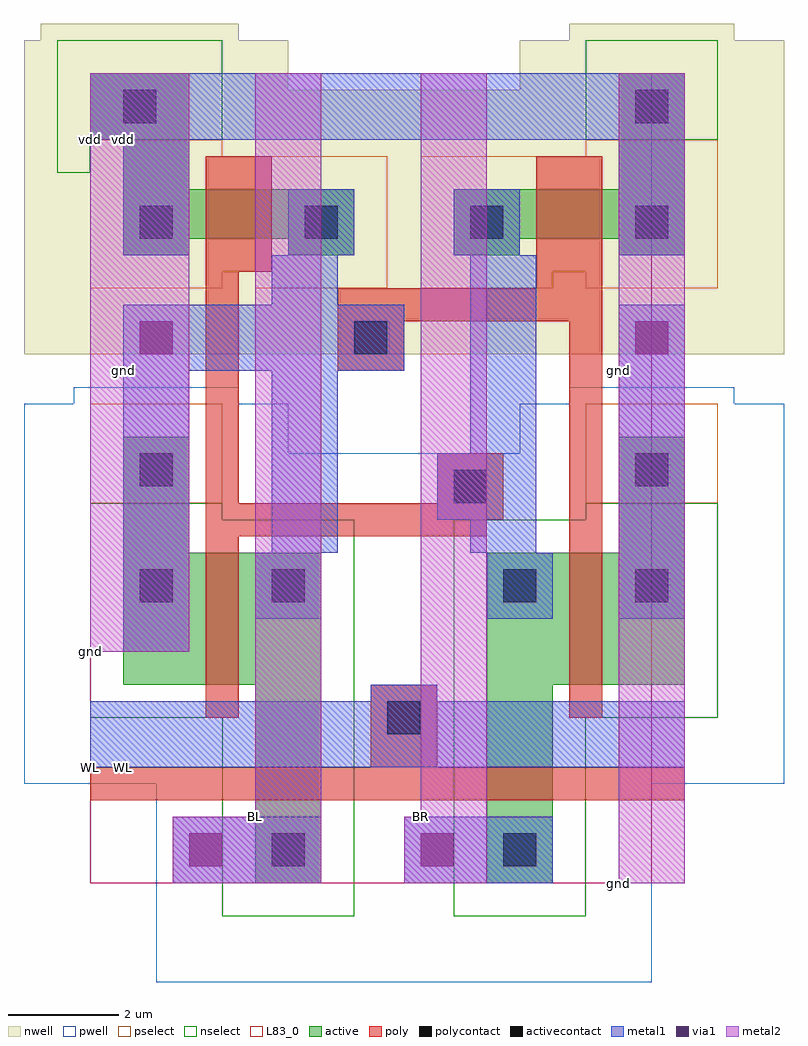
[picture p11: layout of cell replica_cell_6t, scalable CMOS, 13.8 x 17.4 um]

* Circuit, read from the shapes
.subckt replica_cell_6t BL BR WL gnd vdd
M1 gnd n1 gnd gnd nfet w=2.4u l=0.6u
M2 gnd WL BL gnd nfet w=1.2u l=0.6u
M3 n1 WL BR gnd nfet w=1.2u l=0.6u
M4 gnd gnd n1 gnd nfet w=2.4u l=0.6u
M5 gnd n1 vdd vdd pfet w=0.9u l=1.2u
M6 vdd gnd n1 vdd pfet w=0.9u l=1.2u
.ends

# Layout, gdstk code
import gdstk
lib = gdstk.Library(unit=1e-6, precision=1e-09)
def R(c, l, rs):  # rectangles x0, y0, x1, y1
    for r in rs: c.add(gdstk.rectangle(r[:2], r[2:], *l))
def A(c, l, x, y, w, h, nx, ny, dx, dy):  # array of equal rectangles
    R(c, l, [(x+i*dx, y+j*dy, x+i*dx+w, y+j*dy+h) for i in range(nx) for j in range(ny)])
pwell = (41, 0)
nwell = (42, 0)
active = (43, 0)
pselect = (44, 0)
nselect = (45, 0)
poly = (46, 0)
polycontact = (47, 0)
activecontact = (48, 0)
metal1 = (49, 0)
via1 = (50, 0)
metal2 = (51, 0)
L83_0 = (83, 0)

replica_cell_6t = lib.new_cell('replica_cell_6t')
R(replica_cell_6t, pwell, [(1.2,-1.8,10.2,1.8), (-1.2,1.8,12.6,7.8), (-1.2,7.8,3.6,8.7), (7.8,7.8,12.6,8.7), (-0.3,8.7,2.7,9), (8.7,8.7,11.7,9)])
R(replica_cell_6t, nwell, [(-1.2,9.6,12.6,14.4), (-1.2,14.4,3.6,15.3), (7.8,14.4,12.6,15.3), (-0.9,15.3,2.7,15.6), (8.7,15.3,11.7,15.6)])
A(replica_cell_6t, active, 0.6, 11.4, 1.2, 0.3, 4, 1, 3, 0)
R(replica_cell_6t, active, [(3,0,4.2,3.6), (7.2,0,8.4,3.6), (0.6,3.6,4.2,6), (7.2,3.6,10.8,6), (0.6,6,1.8,8.1), (9.6,6,10.8,8.1), (0.6,11.7,4.8,12.6), (6.6,11.7,10.8,12.6), (0.6,12.6,1.8,13.5), (9.6,12.6,10.8,14.7), (0,13.5,1.8,14.7)])
A(replica_cell_6t, pselect, 0, 10.8, 2.4, 0.3, 4, 1, 3, 0)
R(replica_cell_6t, pselect, [(0,6.9,2.4,8.7), (9,6.9,11.4,8.7), (0,11.1,5.4,13.2), (6,11.1,11.4,13.2), (0,13.2,2.4,13.5), (9,13.2,11.4,13.5)])
R(replica_cell_6t, nselect, [(2.4,-0.6,4.8,3), (6.6,-0.6,9,3), (0,3,4.8,6.6), (6.6,3,11.4,6.6), (0,6.6,2.4,6.9), (9,6.6,11.4,6.9), (-0.6,12.9,0,13.5), (-0.6,13.5,2.4,15.3), (9,13.5,11.4,15.3)])
R(replica_cell_6t, poly, [(0,1.5,10.8,2.1), (5.1,2.1,6.3,3.6), (2.1,3,2.7,6.3), (8.7,3,9.3,10.2), (2.1,6.3,7.2,6.6), (2.1,6.6,7.5,6.9), (2.1,6.9,2.7,11.1), (6.3,6.9,7.5,7.8), (4.5,9.3,5.7,10.2), (4.5,10.2,9.3,10.8), (8.1,10.8,9.3,13.2), (2.1,11.1,3.3,13.2)])
R(replica_cell_6t, polycontact, [(5.4,2.7,6,3.3), (6.6,6.9,7.2,7.5), (4.8,9.6,5.4,10.2)])
A(replica_cell_6t, activecontact, 0.9, 11.7, 0.6, 0.6, 4, 1, 3, 0)
R(replica_cell_6t, activecontact, [(3.3,0.3,3.9,0.9), (7.5,0.3,8.1,0.9), (0.9,5.1,1.5,5.7), (3.3,5.1,3.9,5.7), (7.5,5.1,8.1,5.7), (9.9,5.1,10.5,5.7), (0.9,7.2,1.5,7.8), (9.9,7.2,10.5,7.8), (0.6,13.8,1.2,14.4), (9.9,13.8,10.5,14.4)])
R(replica_cell_6t, metal1, [(1.5,0,4.2,1.2), (5.7,0,8.4,1.2), (0,2.1,10.8,3.3), (0,2.1,10.8,3.3), (5.1,3.3,6.3,3.6), (0.6,4.2,1.8,9.3), (3,4.8,4.2,6), (7.2,4.8,8.4,6), (9.6,4.8,10.8,10.5), (3.3,6,4.5,9.3), (6.9,6,8.1,6.6), (6.3,6.6,8.1,7.8), (6.9,7.8,8.1,11.4), (0.6,9.3,5.7,10.5), (3.3,10.5,4.5,11.4), (0.6,11.4,1.8,13.5), (3.6,11.4,4.8,12.6), (6.6,11.4,7.8,12.6), (9.6,11.4,10.8,13.5), (0,13.5,10.8,14.7), (0,13.5,10.8,14.7)])
R(replica_cell_6t, via1, [(1.8,0.3,2.4,0.9), (6,0.3,6.6,0.9), (0.9,9.6,1.5,10.2), (9.9,9.6,10.5,10.2)])
R(replica_cell_6t, metal2, [(1.5,0,4.2,1.2), (5.7,0,7.2,1.2), (9.6,0,10.8,14.7), (9.6,0,10.8,14.7), (3,1.2,4.2,14.7), (3,1.2,4.2,14.7), (6,1.2,7.2,14.7), (6,1.2,7.2,14.7), (0,4.2,1.8,14.7), (0,4.2,1.8,14.7)])
R(replica_cell_6t, L83_0, [(0,0,10.2,14.7)])
replica_cell_6t.add(gdstk.Label('gnd', (0.6,9.3), layer=51, texttype=0))
replica_cell_6t.add(gdstk.Label('gnd', (9.6,9.3), layer=51, texttype=0))
replica_cell_6t.add(gdstk.Label('BL', (3,1.2), layer=51, texttype=0))
replica_cell_6t.add(gdstk.Label('BR', (6,1.2), layer=51, texttype=0))
replica_cell_6t.add(gdstk.Label('vdd', (0.6,13.5), layer=49, texttype=0))
replica_cell_6t.add(gdstk.Label('WL', (0.6,2.1), layer=49, texttype=0))
replica_cell_6t.add(gdstk.Label('BL', (3,1.2), layer=51, texttype=0))
replica_cell_6t.add(gdstk.Label('WL', (0,2.1), layer=49, texttype=0))
replica_cell_6t.add(gdstk.Label('gnd', (0,4.2), layer=51, texttype=0))
replica_cell_6t.add(gdstk.Label('gnd', (9.6,0), layer=51, texttype=0))
replica_cell_6t.add(gdstk.Label('vdd', (0,13.5), layer=49, texttype=0))
replica_cell_6t.add(gdstk.Label('BR', (6,1.2), layer=51, texttype=0))

lib.write_gds('replica_cell_6t.gds')
